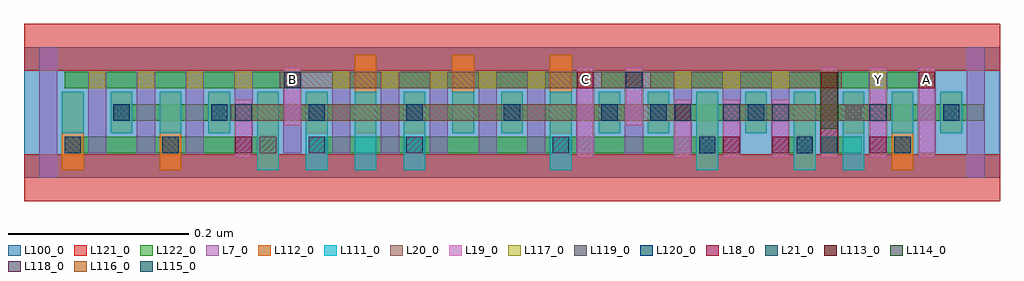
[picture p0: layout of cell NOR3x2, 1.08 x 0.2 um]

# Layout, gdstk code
import gdstk
lib = gdstk.Library(unit=1e-6, precision=2.5e-10)
def R(c, l, rs):  # rectangles x0, y0, x1, y1
    for r in rs: c.add(gdstk.rectangle(r[:2], r[2:], *l))
def A(c, l, x, y, w, h, nx, ny, dx, dy):  # array of equal rectangles
    R(c, l, [(x+i*dx, y+j*dy, x+i*dx+w, y+j*dy+h) for i in range(nx) for j in range(ny)])
L7_0 = (7, 0)
L18_0 = (18, 0)
L19_0 = (19, 0)
L20_0 = (20, 0)
L21_0 = (21, 0)
L100_0 = (100, 0)
L111_0 = (111, 0)
L112_0 = (112, 0)
L113_0 = (113, 0)
L114_0 = (114, 0)
L115_0 = (115, 0)
L116_0 = (116, 0)
L117_0 = (117, 0)
L118_0 = (118, 0)
L119_0 = (119, 0)
L120_0 = (120, 0)
L121_0 = (121, 0)
L122_0 = (122, 0)

nor3x2 = lib.new_cell('NOR3x2')
A(nor3x2, L7_0, 0.071, 0.027, 0.02, 0.09, 15, 1, 0.054, 0)
R(nor3x2, L7_0, [(0.017,0,0.037,0.144), (1.043,0,1.063,0.144), (0.935,0.027,0.955,0.117), (0.989,0.027,1.009,0.117)])
A(nor3x2, L18_0, 0.774, 0.027, 0.018, 0.018, 4, 1, 0.054, 0)
R(nor3x2, L18_0, [(0.234,0.027,0.252,0.045), (0.72,0.063,0.738,0.081), (0.288,0.099,0.306,0.117), (0.612,0.099,0.63,0.117), (0.666,0.099,0.684,0.117), (0.99,0.099,1.008,0.117)])
A(nor3x2, L19_0, 0.72, 0.022, 0.018, 0.064, 3, 1, 0.054, 0)
A(nor3x2, L19_0, 0.882, 0.022, 0.018, 0.1, 3, 1, 0.054, 0)
R(nor3x2, L19_0, [(0.234,0.022,0.252,0.086), (0.612,0.022,0.63,0.122), (0.288,0.058,0.306,0.122), (0.666,0.058,0.684,0.122)])
R(nor3x2, L20_0, [(0.229,0.063,0.738,0.081), (0.774,0.063,0.959,0.081), (0.283,0.099,0.905,0.117)])
A(nor3x2, L21_0, 0.72, 0.063, 0.018, 0.018, 3, 1, 0.054, 0)
R(nor3x2, L21_0, [(0.234,0.063,0.252,0.081), (0.936,0.063,0.954,0.081), (0.288,0.099,0.306,0.117), (0.666,0.099,0.684,0.117), (0.882,0.099,0.9,0.117)])
R(nor3x2, L100_0, [(0,0,1.08,0.144)])
A(nor3x2, L111_0, 0.258, 0.008, 0.024, 0.087, 4, 1, 0.054, 0)
A(nor3x2, L111_0, 0.042, 0.049, 0.024, 0.046, 4, 1, 0.054, 0)
R(nor3x2, L111_0, [(0.582,0.008,0.606,0.095), (0.744,0.008,0.768,0.095), (0.852,0.008,0.876,0.095), (0.906,0.008,0.93,0.095), (0.474,0.049,0.498,0.095), (0.528,0.049,0.552,0.095), (0.636,0.049,0.66,0.095), (0.69,0.049,0.714,0.095), (0.798,0.049,0.822,0.095), (0.96,0.049,0.984,0.095), (1.014,0.049,1.038,0.095)])
A(nor3x2, L112_0, 0.042, 0.008, 0.024, 0.087, 3, 1, 0.108, 0)
A(nor3x2, L112_0, 0.744, 0.008, 0.024, 0.087, 3, 1, 0.108, 0)
A(nor3x2, L112_0, 0.096, 0.049, 0.024, 0.046, 6, 1, 0.108, 0)
A(nor3x2, L112_0, 0.366, 0.049, 0.024, 0.087, 3, 1, 0.108, 0)
A(nor3x2, L112_0, 0.69, 0.049, 0.024, 0.046, 4, 1, 0.108, 0)
R(nor3x2, L113_0, [(0.881,0.027,0.901,0.117)])
R(nor3x2, L114_0, [(0.881,0.054,0.901,0.117)])
R(nor3x2, L115_0, [(0.882,0.027,0.9,0.045)])
R(nor3x2, L116_0, [(0.882,0.099,0.9,0.117)])
A(nor3x2, L117_0, 0.072, 0.099, 0.018, 0.018, 15, 1, 0.054, 0)
R(nor3x2, L117_0, [(0.936,0.099,0.954,0.117), (0.99,0.099,1.008,0.117)])
R(nor3x2, L118_0, [(0.315,0.027,0.333,0.045), (0.423,0.027,0.441,0.045), (0.585,0.027,0.603,0.045)])
A(nor3x2, L119_0, 0.045, 0.027, 0.018, 0.018, 3, 1, 0.108, 0)
A(nor3x2, L119_0, 0.747, 0.027, 0.018, 0.018, 3, 1, 0.108, 0)
A(nor3x2, L119_0, 0.099, 0.063, 0.018, 0.018, 6, 1, 0.108, 0)
A(nor3x2, L119_0, 0.693, 0.063, 0.018, 0.018, 4, 1, 0.108, 0)
A(nor3x2, L120_0, 0.747, 0.027, 0.018, 0.018, 3, 1, 0.108, 0)
A(nor3x2, L120_0, 0.099, 0.063, 0.018, 0.018, 6, 1, 0.108, 0)
R(nor3x2, L120_0, [(0.045,0.027,0.063,0.045), (0.153,0.027,0.171,0.045), (0.693,0.063,0.711,0.081), (0.801,0.063,0.819,0.081), (1.017,0.063,1.035,0.081)])
R(nor3x2, L121_0, [(0,-0.026,1.08,0.026), (0,0.118,1.08,0.17)])
A(nor3x2, L122_0, 0.828, 0.027, 0.045, 0.018, 3, 1, 0.054, 0)
R(nor3x2, L122_0, [(0.045,0.027,0.279,0.045), (0.315,0.027,0.792,0.045), (0.099,0.063,0.684,0.081), (0.693,0.063,1.062,0.081), (0.045,0.099,0.306,0.117), (0.342,0.099,0.63,0.117), (0.639,0.099,0.684,0.117), (0.693,0.099,1.008,0.117)])
nor3x2.add(gdstk.Label('Y', (0.945,0.108), layer=19, texttype=251))
nor3x2.add(gdstk.Label('C', (0.621,0.108), layer=19, texttype=251))
nor3x2.add(gdstk.Label('B', (0.297,0.108), layer=19, texttype=251))
nor3x2.add(gdstk.Label('A', (0.999,0.108), layer=19, texttype=251))

lib.write_gds('NOR3x2.gds')
